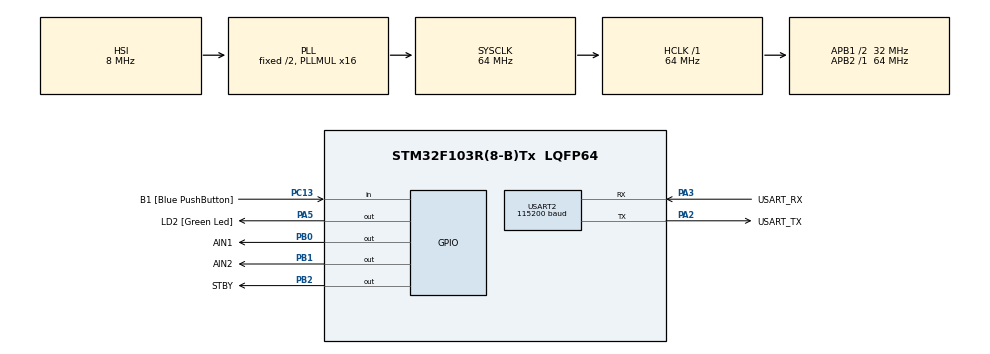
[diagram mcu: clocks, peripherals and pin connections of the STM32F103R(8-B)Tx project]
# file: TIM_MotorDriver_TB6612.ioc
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Mcu.Family=STM32F1
Mcu.Name=STM32F103R(8-B)Tx
Mcu.Package=LQFP64
NVIC.PriorityGroup=NVIC_PRIORITYGROUP_4
PA0-WKUP.GPIO_Speed=GPIO_SPEED_FREQ_HIGH
PA0-WKUP.Signal=S_TIM2_CH1
PA13.GPIO_Label=TMS
PA13.Mode=Serial_Wire
PA13.Signal=SYS_JTMS-SWDIO
PA14.GPIO_Label=TCK
PA14.Mode=Serial_Wire
PA14.Signal=SYS_JTCK-SWCLK
PA2.GPIO_Label=USART_TX
PA2.GPIO_Mode=GPIO_MODE_AF_PP
PA2.GPIO_PuPd=GPIO_NOPULL
PA2.GPIO_Speed=GPIO_SPEED_FREQ_LOW
PA2.Mode=Asynchronous
PA2.Signal=USART2_TX
PA3.GPIO_Label=USART_RX
PA3.GPIO_PuPd=GPIO_NOPULL
PA3.GPIO_Speed=GPIO_SPEED_FREQ_LOW
PA3.Mode=Asynchronous
PA3.Signal=USART2_RX
PA5.GPIO_Label=LD2 [Green Led]
PA5.GPIO_ModeDefaultOutputPP=GPIO_MODE_OUTPUT_PP
PA5.GPIO_PuPd=GPIO_NOPULL
PA5.GPIO_Speed=GPIO_SPEED_FREQ_LOW
PA5.Signal=GPIO_Output
PB0.GPIO_Label=AIN1
PB0.GPIO_ModeDefaultOutputPP=GPIO_MODE_OUTPUT_PP
PB0.GPIO_PuPd=GPIO_NOPULL
PB0.GPIO_Speed=GPIO_SPEED_FREQ_LOW
PB0.Signal=GPIO_Output
PB1.GPIO_Label=AIN2
PB1.GPIO_ModeDefaultOutputPP=GPIO_MODE_OUTPUT_PP
PB1.GPIO_PuPd=GPIO_NOPULL
PB1.GPIO_Speed=GPIO_SPEED_FREQ_LOW
PB1.Signal=GPIO_Output
PB2.GPIO_Label=STBY
PB2.GPIO_ModeDefaultOutputPP=GPIO_MODE_OUTPUT_PP
PB2.GPIO_PuPd=GPIO_NOPULL
PB2.GPIO_Speed=GPIO_SPEED_FREQ_LOW
PB2.Signal=GPIO_Output
PB3.GPIO_Label=SWO
PB3.Signal=SYS_JTDO-TRACESWO
PC13-TAMPER-RTC.GPIO_Label=B1 [Blue PushButton]
PC13-TAMPER-RTC.GPIO_PuPd=GPIO_NOPULL
PC13-TAMPER-RTC.Signal=GPIO_Input
PC14-OSC32_IN.Mode=LSE-External-Oscillator
PC14-OSC32_IN.Signal=RCC_OSC32_IN
PC15-OSC32_OUT.Mode=LSE-External-Oscillator
PC15-OSC32_OUT.Signal=RCC_OSC32_OUT
PD0-OSC_IN.Mode=HSE-External-Clock-Source
PD0-OSC_IN.Signal=RCC_OSC_IN
PD1-OSC_OUT.Mode=HSE-External-Clock-Source
PD1-OSC_OUT.Signal=RCC_OSC_OUT
ProjectManager.HeapSize=0x200
ProjectManager.StackSize=0x400
ProjectManager.TargetToolchain=STM32CubeIDE
RCC.AHBFreq_Value=64000000
RCC.APB1CLKDivider=RCC_HCLK_DIV2
RCC.APB1Freq_Value=32000000
RCC.APB1TimFreq_Value=64000000
RCC.APB2Freq_Value=64000000
RCC.APB2TimFreq_Value=64000000
RCC.HCLKFreq_Value=64000000
RCC.PLLMUL=RCC_PLL_MUL16
RCC.RTCClockSelection=RCC_RTCCLKSOURCE_LSE
RCC.SYSCLKFreq_VALUE=64000000
RCC.SYSCLKSource=RCC_SYSCLKSOURCE_PLLCLK
RCC.USBFreq_Value=64000000
TIM2.AutoReloadPreload=TIM_AUTORELOAD_PRELOAD_ENABLE
TIM2.Channel-PWM Generation1 CH1=TIM_CHANNEL_1
TIM2.Period=3199
TIM2.Prescaler=0
TIM2.Pulse-PWM Generation1 CH1=0
USART2.BaudRate=115200
USART2.VirtualMode=VM_ASYNC
VP_TIM2_VS_ClockSourceINT.Mode=Internal
board=NUCLEO-F103RB

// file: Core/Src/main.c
/* USER CODE BEGIN Header */
/**
 ******************************************************************************
 * @file           : main.c
 * @brief          : Main program body
 ******************************************************************************
 * @attention
 *
 * Copyright (c) 2026 STMicroelectronics.
 * All rights reserved.
 *
 * This software is licensed under terms that can be found in the LICENSE file
 * in the root directory of this software component.
 * If no LICENSE file comes with this software, it is provided AS-IS.
 *
 ******************************************************************************
 */
/**
 * 10_TIM_MotorDriver_TB6612_c  —  [계층: HAL]  H-브리지 모터 드라이버(TB6612FNG)로 DC 모터: PWM 속도 + 방향 핀 + 정지 방식
 *
 * TB6612FNG 채널 A 제어 (PWMA, AIN1, AIN2, STBY)
 *   AIN1 AIN2 | 동작
 *    H    L   | 정회전 (PWMA 듀티가 속도)
 *    L    H   | 역회전
 *    H    H   | **쇼트 브레이크**: 모터 단자를 서로 단락 -> 빠르게 멈춘다 (역기전력이 모터를 제동)
 *    L    L   | **코스트(정지, 자유 회전)**: 출력 Hi-Z -> 관성으로 서서히 멈춘다
 *   STBY = Low 이면 전체 대기(출력 차단), High 여야 동작.
 *   PWM 주파수: 20kHz 로 가청 대역(약 20kHz) 위로 올려 모터 "삐-" 소리를 피한다. (TB6612 최대 100kHz)
 *
 * 배선 (Nucleo-F103RB)
 *   PWMA = PA0 (TIM2_CH1),  AIN1 = PB0,  AIN2 = PB1,  STBY = PB2
 *   VM = 모터 전원(4.5~13.5V, **외부 전원**),  VCC = 3.3V(로직),  GND = 보드 GND 와 **공통**,  AO1/AO2 = 모터
 *   *** 모터 전원을 Nucleo 에서 끌어 쓰지 말 것. 기동 전류가 보드를 리셋시킨다. 모터 양단에 역기전력 흡수를 위한 캐패시터/다이오드 권장. ***
 *
 * PWM 계산: TIM2 64MHz, PSC = 0, ARR = 3200-1 -> 20kHz, CCR1 = 0..3200 (속도 -1000..+1000 의 절댓값을 0..3200 으로 스케일)
 *
 * 동작 시퀀스 (반복, UART 로 단계 출력)
 *   1) 정회전 가속 0 -> 100% (2초)   2) 쇼트 브레이크 0.5초   3) 역회전 가속 0 -> 100% (2초)   4) 코스트 1초(자연 정지)
 *   B1(PC13)을 누르면 즉시 **브레이크 + STBY Low**(비상 정지). 다시 누르면 재개.
 *   *** 이 예제는 단계마다 급격한 방향 전환을 하지 않는다: 반드시 속도를 0 으로 줄이거나 브레이크를 거쳐 방향을 바꾼다
 *       (달리는 모터에 즉시 반대 방향 전압을 주면 큰 전류가 흘러 드라이버/전원에 무리가 간다). ***
 *
 * 인터럽트를 사용하지 않는다.
 */
/* USER CODE END Header */
#include "main.h"

/* USER CODE BEGIN Includes */
#include <stdio.h>
#include <string.h>
/* USER CODE END Includes */

/* USER CODE BEGIN PD */
#define PWM_TOP 3200U

/* USER CODE END PD */

TIM_HandleTypeDef htim2;
UART_HandleTypeDef huart2;

void SystemClock_Config(void);
static void MX_GPIO_Init(void);
static void MX_USART2_UART_Init(void);
static void MX_TIM2_Init(void);
void HAL_TIM_MspPostInit(TIM_HandleTypeDef *htim);

/* USER CODE BEGIN 0 */
static void print(const char *s) { HAL_UART_Transmit(&huart2, (uint8_t *)s, (uint16_t)strlen(s), 100); }

static void set_dir(int in1, int in2)
{
    HAL_GPIO_WritePin(AIN1_GPIO_Port, AIN1_Pin, in1 ? GPIO_PIN_SET : GPIO_PIN_RESET);   /* AIN1 = PB0 (GPIOB->BSRR/BRR bit0) */
    HAL_GPIO_WritePin(AIN2_GPIO_Port, AIN2_Pin, in2 ? GPIO_PIN_SET : GPIO_PIN_RESET);   /* AIN2 = PB1 (GPIOB->BSRR/BRR bit1) */
}

/* speed: -1000(역 최대) .. 0 .. +1000(정 최대) */
static void motor_set(int speed)
{
    if (speed > 1000) speed = 1000;
    if (speed < -1000) speed = -1000;
    if (speed > 0)       set_dir(1, 0);
    else if (speed < 0)  set_dir(0, 1);
    else                 set_dir(0, 0);                                      /* 0 은 코스트 */
    uint32_t mag = (uint32_t)(speed < 0 ? -speed : speed);
    __HAL_TIM_SET_COMPARE(&htim2, TIM_CHANNEL_1, mag * PWM_TOP / 1000U);      /* TIM2->CCR1 */
}

static void motor_brake(void)   { __HAL_TIM_SET_COMPARE(&htim2, TIM_CHANNEL_1, PWM_TOP); set_dir(1, 1); }   /* 쇼트 브레이크 (PWM 100%) */
static void motor_coast(void)   { __HAL_TIM_SET_COMPARE(&htim2, TIM_CHANNEL_1, 0); set_dir(0, 0); }          /* 자유 회전 */
static void standby(int on)     { HAL_GPIO_WritePin(STBY_GPIO_Port, STBY_Pin, on ? GPIO_PIN_RESET : GPIO_PIN_SET); }  /* STBY(PB2) Low = 대기 */

/* 지정 시간 동안 대기하면서 B1 비상 정지를 감시. 눌렸으면 1 반환 */
static int wait_or_estop(uint32_t ms)
{
    uint32_t t0 = HAL_GetTick();
    while (HAL_GetTick() - t0 < ms)
        if (HAL_GPIO_ReadPin(B1_GPIO_Port, B1_Pin) == GPIO_PIN_RESET) return 1;   /* GPIOC->IDR bit13 */
    return 0;
}
/* USER CODE END 0 */

int main(void)
{

  /* MCU Configuration--------------------------------------------------------*/

  /* Reset of all peripherals, Initializes the Flash interface and the Systick. */
  HAL_Init();

  /* Configure the system clock */
  SystemClock_Config();

  /* Initialize all configured peripherals */
  MX_GPIO_Init();
  MX_USART2_UART_Init();
  MX_TIM2_Init();
  /* USER CODE BEGIN 2 */
  if (HAL_TIM_PWM_Start(&htim2, TIM_CHANNEL_1) != HAL_OK) Error_Handler();   /* TIM2->CCER.CC1E = 1, CR1.CEN = 1 */
  standby(0);                                                              /* 출력 활성 (STBY High) */
  motor_coast();
  /* USER CODE END 2 */

  /* Infinite loop */
  while (1)
  {

    /* USER CODE BEGIN 3 */
    int estop = 0;

    print("forward ramp 0 -> 100%\r\n");
    for (int s = 0; s <= 1000 && !estop; s += 10) { motor_set(s); estop = wait_or_estop(20); }

    if (!estop) { print("short brake\r\n"); motor_brake(); estop = wait_or_estop(500); }

    if (!estop) { print("reverse ramp 0 -> 100%\r\n"); for (int s = 0; s <= 1000 && !estop; s += 10) { motor_set(-s); estop = wait_or_estop(20); } }

    if (!estop) { print("coast (free spin)\r\n"); motor_coast(); estop = wait_or_estop(1000); }

    if (estop)
    {
      motor_brake();
      HAL_Delay(300);
      standby(1);                                                      /* STBY Low: 출력 차단 */
      print("*** E-STOP: brake + standby. release B1 and press again to resume\r\n");
      while (HAL_GPIO_ReadPin(B1_GPIO_Port, B1_Pin) == GPIO_PIN_RESET) {}   /* 뗄 때까지 */
      HAL_Delay(50);
      while (HAL_GPIO_ReadPin(B1_GPIO_Port, B1_Pin) == GPIO_PIN_SET) {}     /* 다시 누를 때까지 */
      while (HAL_GPIO_ReadPin(B1_GPIO_Port, B1_Pin) == GPIO_PIN_RESET) {}
      HAL_Delay(50);
      standby(0);
      motor_coast();
      print("resume\r\n");
    }
  }
  /* USER CODE END 3 */
}

void SystemClock_Config(void)
{
  RCC_OscInitTypeDef RCC_OscInitStruct = {0};
  RCC_ClkInitTypeDef RCC_ClkInitStruct = {0};

  /** Initializes the RCC Oscillators according to the specified parameters
  * in the RCC_OscInitTypeDef structure.
  */
  RCC_OscInitStruct.OscillatorType = RCC_OSCILLATORTYPE_HSI;
  RCC_OscInitStruct.HSIState = RCC_HSI_ON;
  RCC_OscInitStruct.HSICalibrationValue = RCC_HSICALIBRATION_DEFAULT;
  RCC_OscInitStruct.PLL.PLLState = RCC_PLL_ON;
  RCC_OscInitStruct.PLL.PLLSource = RCC_PLLSOURCE_HSI_DIV2;
  RCC_OscInitStruct.PLL.PLLMUL = RCC_PLL_MUL16;
  if (HAL_RCC_OscConfig(&RCC_OscInitStruct) != HAL_OK)
  {
    Error_Handler();
  }

  /** Initializes the CPU, AHB and APB buses clocks
  */
  RCC_ClkInitStruct.ClockType = RCC_CLOCKTYPE_HCLK|RCC_CLOCKTYPE_SYSCLK
                              |RCC_CLOCKTYPE_PCLK1|RCC_CLOCKTYPE_PCLK2;
  RCC_ClkInitStruct.SYSCLKSource = RCC_SYSCLKSOURCE_PLLCLK;
  RCC_ClkInitStruct.AHBCLKDivider = RCC_SYSCLK_DIV1;
  RCC_ClkInitStruct.APB1CLKDivider = RCC_HCLK_DIV2;
  RCC_ClkInitStruct.APB2CLKDivider = RCC_HCLK_DIV1;

  if (HAL_RCC_ClockConfig(&RCC_ClkInitStruct, FLASH_LATENCY_2) != HAL_OK)
  {
    Error_Handler();
  }
}

static void MX_GPIO_Init(void)
{
  GPIO_InitTypeDef GPIO_InitStruct = {0};

  /* GPIO Ports Clock Enable */
  __HAL_RCC_GPIOC_CLK_ENABLE();
  __HAL_RCC_GPIOD_CLK_ENABLE();
  __HAL_RCC_GPIOA_CLK_ENABLE();
  __HAL_RCC_GPIOB_CLK_ENABLE();

  /*Configure GPIO pin Output Level */
  HAL_GPIO_WritePin(LD2_GPIO_Port, LD2_Pin, GPIO_PIN_RESET);

  /*Configure GPIO pin Output Level */
  HAL_GPIO_WritePin(GPIOB, AIN1_Pin|AIN2_Pin|STBY_Pin, GPIO_PIN_RESET);

  /*Configure GPIO pin : B1_Pin */
  GPIO_InitStruct.Pin = B1_Pin;
  GPIO_InitStruct.Mode = GPIO_MODE_INPUT;
  GPIO_InitStruct.Pull = GPIO_NOPULL;
  HAL_GPIO_Init(B1_GPIO_Port, &GPIO_InitStruct);

  /*Configure GPIO pin : LD2_Pin */
  GPIO_InitStruct.Pin = LD2_Pin;
  GPIO_InitStruct.Mode = GPIO_MODE_OUTPUT_PP;
  GPIO_InitStruct.Pull = GPIO_NOPULL;
  GPIO_InitStruct.Speed = GPIO_SPEED_FREQ_LOW;
  HAL_GPIO_Init(LD2_GPIO_Port, &GPIO_InitStruct);

  /*Configure GPIO pins : AIN1_Pin AIN2_Pin STBY_Pin */
  GPIO_InitStruct.Pin = AIN1_Pin|AIN2_Pin|STBY_Pin;
  GPIO_InitStruct.Mode = GPIO_MODE_OUTPUT_PP;
  GPIO_InitStruct.Pull = GPIO_NOPULL;
  GPIO_InitStruct.Speed = GPIO_SPEED_FREQ_LOW;
  HAL_GPIO_Init(GPIOB, &GPIO_InitStruct);

}

static void MX_USART2_UART_Init(void)
{

  huart2.Instance = USART2;
  huart2.Init.BaudRate = 115200;
  huart2.Init.WordLength = UART_WORDLENGTH_8B;
  huart2.Init.StopBits = UART_STOPBITS_1;
  huart2.Init.Parity = UART_PARITY_NONE;
  huart2.Init.Mode = UART_MODE_TX_RX;
  huart2.Init.HwFlowCtl = UART_HWCONTROL_NONE;
  huart2.Init.OverSampling = UART_OVERSAMPLING_16;
  if (HAL_UART_Init(&huart2) != HAL_OK)
  {
    Error_Handler();
  }

}

static void MX_TIM2_Init(void)
{

  TIM_ClockConfigTypeDef sClockSourceConfig = {0};
  TIM_MasterConfigTypeDef sMasterConfig = {0};
  TIM_OC_InitTypeDef sConfigOC = {0};

  htim2.Instance = TIM2;
  htim2.Init.Prescaler = 0;
  htim2.Init.CounterMode = TIM_COUNTERMODE_UP;
  htim2.Init.Period = 3199;
  htim2.Init.ClockDivision = TIM_CLOCKDIVISION_DIV1;
  htim2.Init.AutoReloadPreload = TIM_AUTORELOAD_PRELOAD_ENABLE;
  if (HAL_TIM_Base_Init(&htim2) != HAL_OK)
  {
    Error_Handler();
  }
  sClockSourceConfig.ClockSource = TIM_CLOCKSOURCE_INTERNAL;
  if (HAL_TIM_ConfigClockSource(&htim2, &sClockSourceConfig) != HAL_OK)
  {
    Error_Handler();
  }
  if (HAL_TIM_PWM_Init(&htim2) != HAL_OK)
  {
    Error_Handler();
  }
  sMasterConfig.MasterOutputTrigger = TIM_TRGO_RESET;
  sMasterConfig.MasterSlaveMode = TIM_MASTERSLAVEMODE_DISABLE;
  if (HAL_TIMEx_MasterConfigSynchronization(&htim2, &sMasterConfig) != HAL_OK)
  {
    Error_Handler();
  }
  sConfigOC.OCMode = TIM_OCMODE_PWM1;
  sConfigOC.Pulse = 0;
  sConfigOC.OCPolarity = TIM_OCPOLARITY_HIGH;
  sConfigOC.OCFastMode = TIM_OCFAST_DISABLE;
  if (HAL_TIM_PWM_ConfigChannel(&htim2, &sConfigOC, TIM_CHANNEL_1) != HAL_OK)
  {
    Error_Handler();
  }
  /* USER CODE BEGIN TIM2_Init 2 */
  /* TIM2: PSC=0 (64MHz), ARR = PWM_TOP-1 = 3199 -> 64MHz/3200 = 20kHz, CCR1 = 0..3200, CR1.ARPE = 1 */
  /* USER CODE END TIM2_Init 2 */
  HAL_TIM_MspPostInit(&htim2);

}

void Error_Handler(void)
{
  __disable_irq();
  while (1) {
  }
}
#ifdef USE_FULL_ASSERT
/**
  * @brief  Reports the name of the source file and the source line number
  *         where the assert_param error has occurred.
  * @param  file: pointer to the source file name
  * @param  line: assert_param error line source number
  * @retval None
  */
void assert_failed(uint8_t *file, uint32_t line)
{
  /* USER CODE BEGIN 6 */
  /* User can add his own implementation to report the file name and line
     number, ex: printf("Wrong parameters value: file %s on line %d\r\n", file,
     line) */
  /* USER CODE END 6 */
}
#endif /* USE_FULL_ASSERT */
